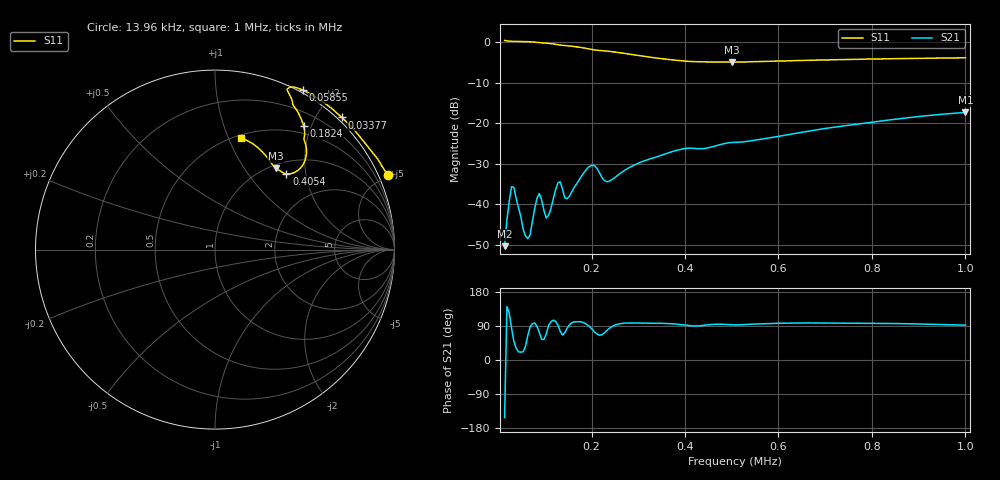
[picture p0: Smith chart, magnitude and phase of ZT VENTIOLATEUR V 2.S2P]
!Agilent Technologies,E5071C,MY46109397,A.09.54
!Date: Mon Jan 01 02:05:26 2001
!Data & Calibration Information:
!Freq	S11:SOLT1(ON)	S21:RESPT(ON)	S12:NONE(--)	S22:NONE(--)
# Hz S RI R 50
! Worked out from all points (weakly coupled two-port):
!   200 points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, 13.96 kHz to 1 MHz, reference 50 ohm
!   highest |S21| = -17.35 dB at 1 MHz (marker M1); lowest = -50.3 dB at 13.96 kHz (marker M2)
!   lowest |S11| = -5.0 dB at 499.5 kHz (marker M3), VSWR 3.60, Z = 52.9 + j70.5 ohm
!   |S11| at or under -10 dB: nowhere
!   S12 and S22 are empty: the file has one direction only
!   S11 on the Smith chart (normalised r, x): 13.96 kHz: -0.56, +4.78; 33.77 kHz: -0.07, +2.34; 58.55 kHz: -0.03, +1.69; 182.4 kHz: 0.38, +1.88; 405.4 kHz: 1.23, +1.56; 1 MHz: 0.53, +1.11
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13955  0.9615 0.4148  -0.0027 -0.00143  0 0  0 0
23865  0.8329 0.597  -0.00613 0.00906  0 0  0 0
28820  0.769 0.6754  0.0018 0.0164  0 0  0 0
33775  0.7066 0.7364  0.0105 0.0123  0 0  0 0
58550  0.4889 0.8886  0.00332 0.00239  0 0  0 0
68460  0.4451 0.9045  0.000212 0.00418  0 0  0 0
83325  0.4122 0.9016  0.000245 0.012  0 0  0 0
88280  0.4054 0.897  0.00415 0.0129  0 0  0 0
103145  0.4056 0.8815  0.00245 0.00634  0 0  0 0
127920  0.4317 0.8229  -0.000813 0.0184  0 0  0 0
132875  0.4331 0.8106  0.00454 0.0185  0 0  0 0
147740  0.4519 0.7824  0.00121 0.0117  0 0  0 0
182425  0.494 0.6898  -0.00364 0.0238  0 0  0 0
202245  0.4987 0.6359  0.00534 0.03  0 0  0 0
236930  0.5068 0.5796  0.00251 0.019  0 0  0 0
345940  0.4529 0.4355  -0.00479 0.0394  0 0  0 0
405400  0.398 0.4219  -0.00124 0.0491  0 0  0 0
499545  0.3384 0.4531  -0.00298 0.0578  0 0  0 0
509455  0.3327 0.458  -0.00261 0.0581  0 0  0 0
672970  0.2776 0.5296  -0.0111 0.0808  0 0  0 0
836485  0.2202 0.5827  -0.0123 0.1089  0 0  0 0
1000000  0.1447 0.6241  -0.0047 0.1356  0 0  0 0
